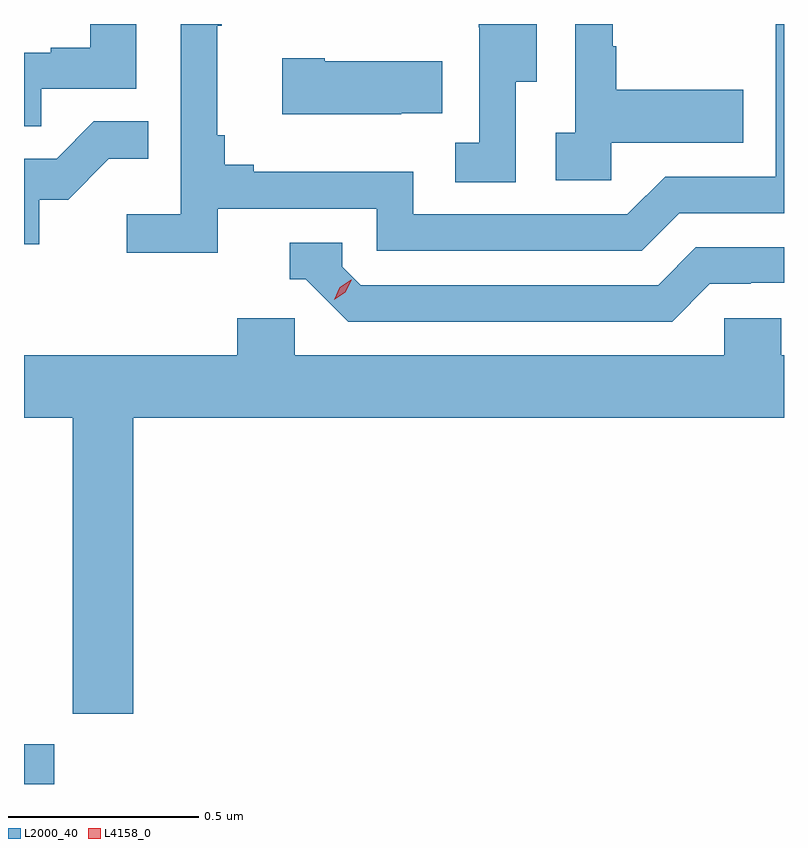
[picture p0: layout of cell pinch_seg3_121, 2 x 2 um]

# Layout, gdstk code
import gdstk
lib = gdstk.Library(unit=1e-6, precision=1e-09)
def R(c, l, rs):  # rectangles x0, y0, x1, y1
    for r in rs: c.add(gdstk.rectangle(r[:2], r[2:], *l))
def P(c, l, *ps):  # polygons
    for p in ps: c.add(gdstk.Polygon(p, *l))
L2000_40 = (2000, 40)
L4158_0 = (4158, 0)

pinch_seg3_121 = lib.new_cell('pinch_seg3_121')
R(pinch_seg3_121, L2000_40, [(1065.398,715.936,1065.478,716.041)])
P(pinch_seg3_121, L2000_40, [(1065.908,717.45),(1066.326,717.45),(1066.326,717.339),(1067.023,717.339),(1067.122,717.438),(1067.398,717.438),(1067.398,717.936),(1067.376,717.936),(1067.376,717.534),(1067.085,717.534),(1066.986,717.435),(1066.422,717.435),(1066.422,717.547),(1066.003,717.547),(1066.003,717.566),(1065.926,717.566),(1065.926,717.643),(1065.907,717.643),(1065.907,717.931),(1065.919,717.931),(1065.919,717.936),(1065.81,717.936),(1065.81,717.436),(1065.669,717.436),(1065.669,717.334),(1065.908,717.334)],
  [(1066.944,717.623),(1067.291,717.623),(1067.291,717.763),(1066.957,717.763),(1066.957,717.878),(1066.947,717.878),(1066.947,717.936),(1066.848,717.936),(1066.848,717.65),(1066.797,717.65),(1066.797,717.525),(1066.944,717.525)],
  [(1066.692,717.784),(1066.747,717.784),(1066.747,717.936),(1066.595,717.936),(1066.595,717.927),(1066.596,717.927),(1066.596,717.623),(1066.533,717.623),(1066.533,717.52),(1066.692,717.52)],
  [(1065.443,717.765),(1065.694,717.765),(1065.694,717.936),(1065.572,717.936),(1065.572,717.874),(1065.469,717.874),(1065.469,717.861),(1065.398,717.861),(1065.398,717.667),(1065.443,717.667)],
  [(1066.391,717.701),(1066.499,717.701),(1066.499,717.838),(1066.189,717.838),(1066.189,717.846),(1066.077,717.846),(1066.077,717.698),(1066.391,717.698)],
  [(1065.438,717.474),(1065.514,717.474),(1065.621,717.581),(1065.725,717.581),(1065.725,717.68),(1065.582,717.68),(1065.484,717.582),(1065.398,717.582),(1065.398,717.357),(1065.438,717.357)],
  [(1067.203,717.252),(1067.31,717.252),(1067.31,717.255),(1067.398,717.255),(1067.398,717.348),(1067.166,717.348),(1067.067,717.249),(1066.284,717.249),(1066.236,717.297),(1066.236,717.36),(1066.097,717.36),(1066.097,717.264),(1066.14,717.264),(1066.251,717.153),(1067.104,717.153)],
  [(1065.686,716.9),(1067.398,716.9),(1067.398,717.064),(1067.391,717.064),(1067.391,717.162),(1067.241,717.162),(1067.241,717.064),(1066.11,717.064),(1066.11,717.162),(1065.959,717.162),(1065.959,717.064),(1065.398,717.064),(1065.398,716.9),(1065.526,716.9),(1065.526,716.121),(1065.686,716.121)])
P(pinch_seg3_121, L4158_0, [(1066.214,717.21),(1066.214,717.21),(1066.229,717.243),(1066.259,717.263),(1066.26,717.263),(1066.26,717.263),(1066.244,717.23),(1066.214,717.21)])

lib.write_gds('pinch_seg3_121.gds')
